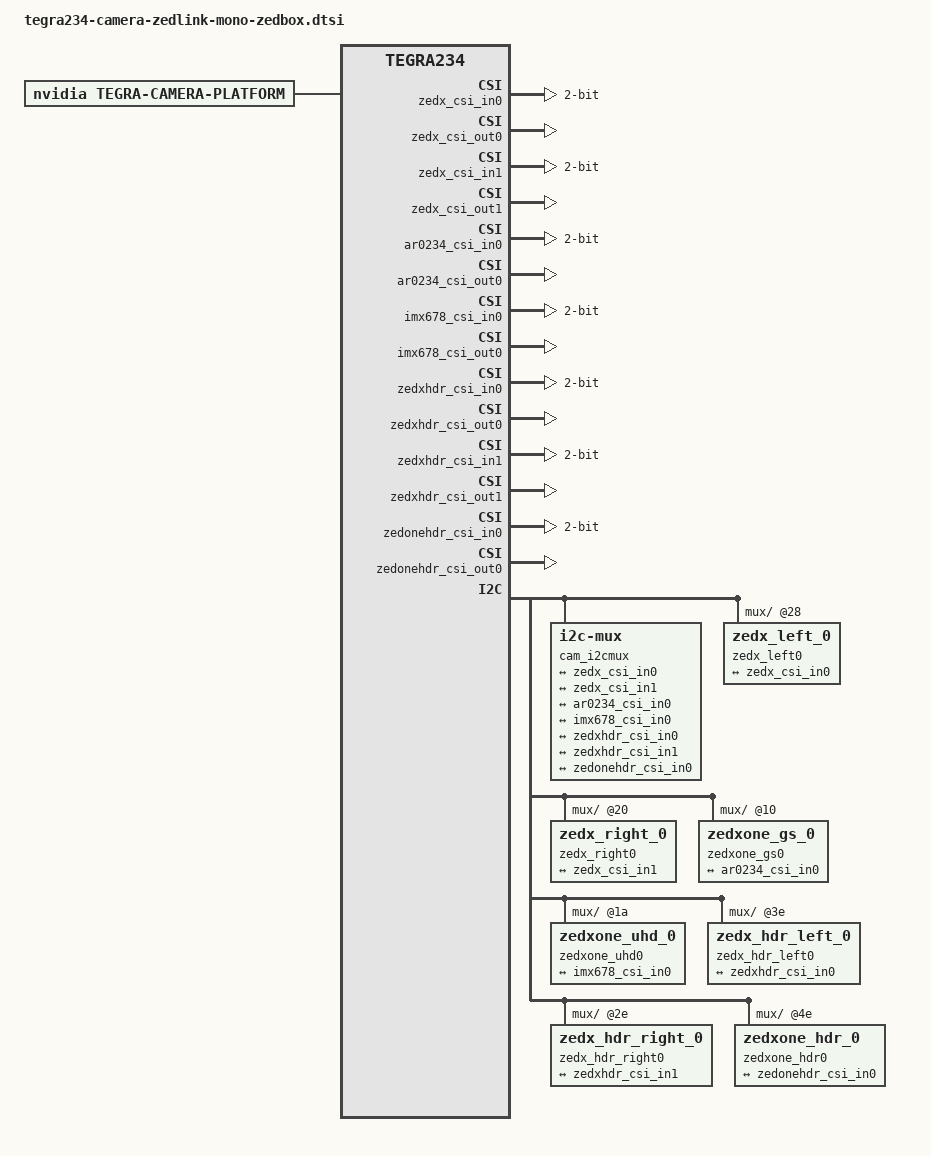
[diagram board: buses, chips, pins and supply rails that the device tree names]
// SPDX-License-Identifier: GPL-2.0-only
// SPDX-FileCopyrightText: Copyright (c) 2023-2024, NVIDIA CORPORATION & AFFILIATES. All rights reserved.

#include "../../../Utils/isx031-sl-modes.dtsi"
#include "../../../Utils/ar0234-sl-modes.dtsi"
#include "../../../Utils/imx678-sl-modes.dtsi"

#define NUM_LANES 2

/ {

	tegra-capture-vi {
		num-channels = <7>;
		ports {
			#address-cells = <1>;
			#size-cells = <0>;
			port@0 {
				reg = <0>;
				status = "okay";
				zedx_vi_in0: endpoint {
					status = "okay";
					vc-id = <0>;
					port-index = <2>;
					bus-width = <NUM_LANES>;
					remote-endpoint = <&zedx_csi_out0>;
				};
			};
			port@1 {
				reg = <1>;
				status = "okay";
				zedx_vi_in1: endpoint {
					status = "okay";
					vc-id = <1>;
					port-index = <2>;
					bus-width = <NUM_LANES>;
					remote-endpoint = <&zedx_csi_out1>;
				};
			};
			port@2 {
				reg = <2>;
				status = "okay";
				ar0234_vi_in0: endpoint {
					status = "okay";
					vc-id = <0>;
					port-index = <2>;
					bus-width = <NUM_LANES>;
					remote-endpoint = <&ar0234_csi_out0>;
				};
			};
			port@3 {
				reg = <3>;
				status = "okay";
				imx678_vi_in0: endpoint {
					status = "okay";
					port-index = <2>;
					bus-width = <NUM_LANES>;
					remote-endpoint = <&imx678_csi_out0>;
				};
			};


			port@4 {
				reg = <4>;
				status = "okay";
				zedxhdr_vi_in0: endpoint {
					status = "okay";
					vc-id = <0>;
					port-index = <2>;
					bus-width = <NUM_LANES>;
					remote-endpoint = <&zedxhdr_csi_out0>;
				};
			};
			port@5 {
				reg = <5>;
				status = "okay";
				zedxhdr_vi_in1: endpoint {
					status = "okay";
					vc-id = <1>;
					port-index = <2>;
					bus-width = <NUM_LANES>;
					remote-endpoint = <&zedxhdr_csi_out1>;
				};
			};
			port@6 {
				reg = <6>;
				status = "okay";
				zedonehdr_vi_in0: endpoint {
					status = "okay";
					vc-id = <0>;
					port-index = <2>;
					bus-width = <NUM_LANES>;
					remote-endpoint = <&zedonehdr_csi_out0>;
				};
			};
		};
	};

	host1x@13e00000 {
		nvcsi@15a00000 {
			num-channels = <7>;
			#address-cells = <1>;
			#size-cells = <0>;
			channel@0 {
				reg = <0>;
				status = "okay";
				ports {
					#address-cells = <1>;
					#size-cells = <0>;
					port@0 {
						reg = <0>;
						status = "okay";
						zedx_csi_in0: endpoint@0 {
							status = "okay";
							port-index = <2>;
							bus-width = <NUM_LANES>;
							remote-endpoint = <&zedx_ar0234_out0>;
						};
					};
					port@1 {
						reg = <1>;
						status = "okay";
						zedx_csi_out0: endpoint@1 {
							status = "okay";
							remote-endpoint = <&zedx_vi_in0>;
						};
					};
				};
			};
			channel@1 {
				reg = <1>;
				status = "okay";
				ports {
					#address-cells = <1>;
					#size-cells = <0>;
					port@0 {
						reg = <0>;
						status = "okay";
						zedx_csi_in1: endpoint@2 {
							status = "okay";
							port-index = <2>;
							bus-width = <NUM_LANES>;
							remote-endpoint = <&zedx_ar0234_out1>;
						};
					};
					port@1 {
						reg = <1>;
						status = "okay";
						zedx_csi_out1: endpoint@3 {
							status = "okay";
							remote-endpoint = <&zedx_vi_in1>;
						};
					};
				};
			};
			channel@2 {
				reg = <2>;
				status = "okay";
				ports {
					#address-cells = <1>;
					#size-cells = <0>;
					port@0 {
						reg = <0>;
						status = "okay";
						ar0234_csi_in0: endpoint@4 {
							status = "okay";
							port-index = <2>;
							bus-width = <NUM_LANES>;
							remote-endpoint = <&ar0234_ar0234_out0>;
						};
					};
					port@1 {
						reg = <1>;
						status = "okay";
						ar0234_csi_out0: endpoint@5 {
							status = "okay";
							remote-endpoint = <&ar0234_vi_in0>;
						};
					};
				};
			};
			channel@3 {
				reg = <3>;
				status = "okay";
				ports {
					#address-cells = <1>;
					#size-cells = <0>;
					port@0 {
						reg = <0>;
						status = "okay";
						imx678_csi_in0: endpoint@6 {
							status = "okay";
							port-index = <2>;
							bus-width = <NUM_LANES>;
							remote-endpoint = <&imx678_imx678_out0>;
						};
					};
					port@1 {
						reg = <1>;
						status = "okay";
						imx678_csi_out0: endpoint@7 {
							status = "okay";
							remote-endpoint = <&imx678_vi_in0>;
						};
					};
				};
			};
			channel@4 {
				reg = <4>;
				status = "okay";
				ports {
					#address-cells = <1>;
					#size-cells = <0>;
					port@0 {
						reg = <0>;
						status = "okay";
						zedxhdr_csi_in0: endpoint@8 {
							status = "okay";
							port-index = <2>;
							bus-width = <NUM_LANES>;
							remote-endpoint = <&zedxhdr_isx031_out0>;
						};
					};
					port@1 {
						reg = <1>;
						status = "okay";
						zedxhdr_csi_out0: endpoint@9 {
							status = "okay";
							remote-endpoint = <&zedxhdr_vi_in0>;
						};
					};
				};
			};
			channel@5 {
				reg = <5>;
				status = "okay";
				ports {
					#address-cells = <1>;
					#size-cells = <0>;
					port@0 {
						reg = <0>;
						status = "okay";
						zedxhdr_csi_in1: endpoint@10 {
							status = "okay";
							port-index = <2>;
							bus-width = <NUM_LANES>;
							remote-endpoint = <&zedxhdr_isx031_out1>;
						};
					};
					port@1 {
						reg = <1>;
						status = "okay";
						zedxhdr_csi_out1: endpoint@11 {
							status = "okay";
							remote-endpoint = <&zedxhdr_vi_in1>;
						};
					};
				};
			};
			channel@6 {
				reg = <6>;
				status = "okay";
				ports {
					#address-cells = <1>;
					#size-cells = <0>;
					port@0 {
						reg = <0>;
						status = "okay";
						zedonehdr_csi_in0: endpoint@12 {
							status = "okay";
							port-index = <2>;
							bus-width = <NUM_LANES>;
							remote-endpoint = <&zedonehdr_isx031_out0>;
						};
					};
					port@1 {
						reg = <1>;
						status = "okay";
						zedonehdr_csi_out0: endpoint@13 {
							status = "okay";
							remote-endpoint = <&zedonehdr_vi_in0>;
						};
					};
				};
			};
		};
	};
			
	cam_i2cmux{
		i2c@0 {

		};
		i2c@1 {
						
			/* ZEDX 0 left camera sensor */
			zedx_left0: zedx_left_0@28 {
				
				devnode = "video0";
				
				sync_sensor = "ZED_CAM0";
				sync_sensor_index = <1>;

				AR0234_MODES("0", "serial_c", "0")
				
				ports {
					#address-cells = <1>;
					#size-cells = <0>;
					port@0 {
						reg = <0>;
						zedx_ar0234_out0: endpoint {
							vc-id = <0>;
							port-index = <2>;
							opt-csi-port = "a";
							bus-width = <NUM_LANES>;
							remote-endpoint = <&zedx_csi_in0>;
						};
					};
				};
			};
			
			/* ZEDX 0 right camera sensor */
			zedx_right0: zedx_right_0@20 {
				
				devnode = "video2";
				
				sync_sensor = "ZED_CAM0";
				sync_sensor_index = <2>;

				AR0234_MODES("1", "serial_c", "0")
				
				ports {
					#address-cells = <1>;
					#size-cells = <0>;
					port@0 {
						reg = <0>;
						zedx_ar0234_out1: endpoint {
							vc-id = <1>;
							port-index = <2>;
							opt-csi-port = "a";
							bus-width = <NUM_LANES>;
							remote-endpoint = <&zedx_csi_in1>;
						};
					};
				};
			};
			
			zedxone_gs0: zedxone_gs_0@10 {
				
				devnode = "video4";
				
				sync_sensor = "ZEDXONE_CAM0";
				sync_sensor_index = <1>;
				
				AR0234_MODES("0", "serial_c", "0")
											
				ports {
					#address-cells = <1>;
					#size-cells = <0>;
					port@0 {
						reg = <0>;
						ar0234_ar0234_out0: endpoint {
							vc-id = <0>;
							port-index = <2>;
							opt-csi-port = "a";
							bus-width = <NUM_LANES>;
							remote-endpoint = <&ar0234_csi_in0>;
						};
					};
				};
			};
			
			
			/* ZEDX One UHD 0 camera sensor */
			zedxone_uhd0:zedxone_uhd_0@1a {
				
				devnode = "video6";
				
				sync_sensor = "ZEDXONE_CAM2";
				sync_sensor_index = <1>;

				IMX678_MODES("0", "serial_c", "0")
				
				ports {
					#address-cells = <1>;
					#size-cells = <0>;
					port@0 {
						reg = <0>;
						imx678_imx678_out0: endpoint {
							vc-id = <0>;
							port-index = <2>;
							opt-csi-port = "a";
							bus-width = <NUM_LANES>;
							remote-endpoint = <&imx678_csi_in0>;
						};
					};
				};
			};
			
			zedx_hdr_left0: zedx_hdr_left_0@3e {
				
				devnode = "video8";
				
				sync_sensor = "ZED_CAM2";
				sync_sensor_index = <1>;
				
				ISX031_MODES("0", "serial_c", "0")

				ports {
					#address-cells = <1>;
					#size-cells = <0>;
					port@0 {
						reg = <0>;
						zedxhdr_isx031_out0: endpoint {
							vc-id = <0>;
							port-index = <2>;
							opt-csi-port = "a";
							bus-width = <NUM_LANES>;
							remote-endpoint = <&zedxhdr_csi_in0>;
						};
					};
				};
			};
			
			zedx_hdr_right0: zedx_hdr_right_0@2e {
				
				devnode = "video10";
				
				sync_sensor = "ZED_CAM2";
				sync_sensor_index = <2>;
				
				ISX031_MODES("1", "serial_c", "0")

				ports {
					#address-cells = <1>;
					#size-cells = <0>;
					port@0 {
						reg = <0>;
						zedxhdr_isx031_out1: endpoint {
							vc-id = <1>;
							port-index = <2>;
							opt-csi-port = "a";
							bus-width = <NUM_LANES>;
							remote-endpoint = <&zedxhdr_csi_in1>;
						};
					};
				};
			};
			
			zedxone_hdr0: zedxone_hdr_0@4e {
				
				devnode = "video12";
				
				sync_sensor = "ZEDXONE_CAM4";
				sync_sensor_index = <1>;
				
				ISX031_MODES("0", "serial_c", "0")
				
				ports {
					#address-cells = <1>;
					#size-cells = <0>;
					port@0 {
						reg = <0>;
						zedonehdr_isx031_out0: endpoint {
							vc-id = <0>;
							port-index = <2>;
							opt-csi-port = "a";
							bus-width = <NUM_LANES>;
							remote-endpoint = <&zedonehdr_csi_in0>;
						};
					};
				};
			};
		};
	};

	tegra-camera-platform {
		compatible = "nvidia, tegra-camera-platform";
		/**
		* Physical settings to calculate max ISO BW
		*
		* num_csi_lanes = <>;
		* Total number of CSI lanes when all cameras are active
		*
		* max_lane_speed = <>;
		* Max lane speed in Kbit/s
		*
		* min_bits_per_pixel = <>;
		* Min bits per pixel
		*
		* vi_peak_byte_per_pixel = <>;
		* Max byte per pixel for the VI ISO case
		*
		* vi_bw_margin_pct = <>;
		* Vi bandwidth margin in percentage
		*
		* max_pixel_rate = <>;
		* Max pixel rate in Kpixel/s for the ISP ISO case
		*
		* isp_peak_byte_per_pixel = <>;
		* Max byte per pixel for the ISP ISO case
		*
		* isp_bw_margin_pct = <>;
		* Isp bandwidth margin in percentage
		*/
		num_csi_lanes = <2>;
		max_lane_speed = <2000000>;
		min_bits_per_pixel = <8>;
		vi_peak_byte_per_pixel = <2>;
		vi_bw_margin_pct = <25>;
		isp_peak_byte_per_pixel = <5>;
		isp_bw_margin_pct = <25>;

		/**
		 * The general guideline for naming badge_info contains 3 parts, and is as follows,
		 * The first part is the camera_board_id for the module; if the module is in a FFD
		 * platform, then use the platform name for this part.
		 * The second part contains the position of the module, ex. "rear" or "front".
		 * The third part contains the last 6 characters of a part number which is found
		 * in the module's specsheet from the vender.
		 */
		modules {
			module0 {
				badge = "zedx_ar0234";
				position = "front";
				orientation = "1";
				status = "okay";
				drivernode0 {
					status = "okay";
					/* Declare PCL support driver (classically known as guid)  */
					pcl_id = "v4l2_sensor";
					/* Driver v4l2 device name */
					devname = "zedx 10-0028";
					/* Declare the device-tree hierarchy to driver instance */
					proc-device-tree = "/proc/device-tree/cam_i2cmux/i2c@1/zedx_left_0@28";
				};
			};
			module1 {
				badge = "zedx_ar0234";
				position = "front";
				orientation = "1";
				status = "okay";
				drivernode0 {
					status = "okay";
					 /* Declare PCL support driver (classically known as guid)  */
					pcl_id = "v4l2_sensor";
					/* Driver v4l2 device name */
					devname = "zedx 10-0020";
					/* Declare the device-tree hierarchy to driver instance */
					proc-device-tree = "/proc/device-tree/cam_i2cmux/i2c@1/zedx_right_0@20";
				};
			};

			module2 {
				badge = "zedx_ar0234";
				position = "front";
				orientation = "1";
				status = "okay";
				drivernode0 {
					status = "okay";
					 /* Declare PCL support driver (classically known as guid)  */
					pcl_id = "v4l2_sensor";
					/* Driver v4l2 device name */
					devname = "zedx 10-0010";
					/* Declare the device-tree hierarchy to driver instance */
					proc-device-tree = "/proc/device-tree/cam_i2cmux/i2c@1/zedxone_gs_0@10";
				};
			};
			module3 {
				badge = "zedx_imx678";
				position = "front";
				orientation = "1";
				status = "okay";
				drivernode0 {
					status = "okay";
					 /* Declare PCL support driver (classically known as guid)  */
					pcl_id = "v4l2_sensor";
					/* Driver v4l2 device name */
					devname = "zedxone_uhd 10-001a";
					/* Declare the device-tree hierarchy to driver instance */
					proc-device-tree = "/proc/device-tree/cam_i2cmux/i2c@1/zedxone_uhd_0@1a";
				};
			};
		};
	};
};
